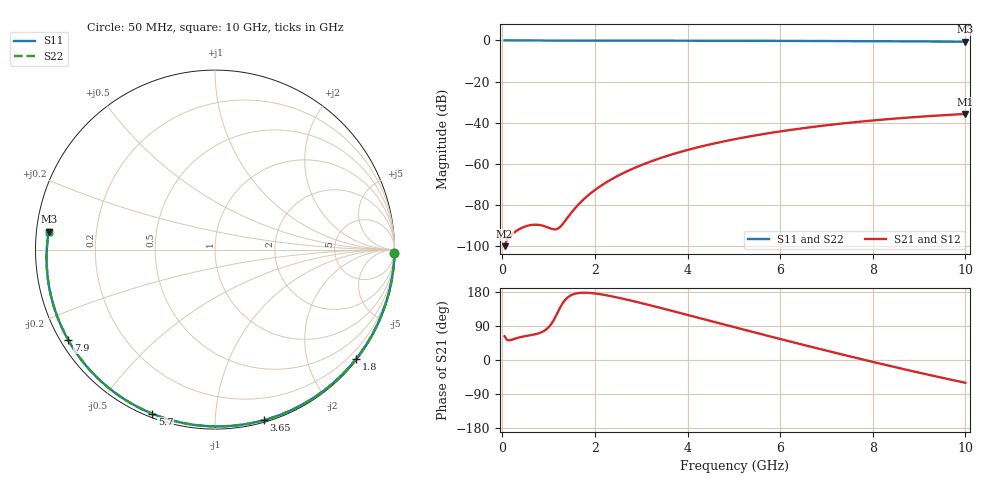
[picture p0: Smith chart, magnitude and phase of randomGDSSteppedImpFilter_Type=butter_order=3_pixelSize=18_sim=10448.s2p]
! freq	dB(S11)	phase(S11)	dB(S12)	phase(S12)
!  dB(S21)	phase(S21)	dB(S22)	phase(S22)
!S-par simulation data
#  GHz  S  DB  R 50
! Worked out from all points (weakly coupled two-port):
!   200 points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, 50 MHz to 10 GHz, reference 50 ohm
!   highest |S21| = -35.73 dB at 10 GHz (marker M1); lowest = -100.0 dB at 50 MHz (marker M2)
!   lowest |S11| = -0.6 dB at 10 GHz (marker M3), VSWR 28.47, Z = 1.76 + j2.68 ohm
!   |S11| at or under -10 dB: nowhere
!   |S22| runs from -0.6 to 0.0 dB; largest |S21 - S12| = 0
!   S11 on the Smith chart (normalised r, x): 50 MHz: open; 1.8 GHz: 0.03, -2.94; 3.65 GHz: 0.02, -1.33; 5.7 GHz: 0.02, -0.69; 7.9 GHz: 0.02, -0.28; 10 GHz: 0.04, +0.05
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0.05  -0.00 -1.1  -99.99 62.8  -99.99 62.8  -0.00 -1.1
0.4  -0.01 -8.5  -91.32 60.6  -91.32 60.6  -0.01 -8.5
0.8  -0.02 -17.0  -89.69 71.0  -89.69 71.0  -0.02 -17.0
1.6  -0.04 -33.5  -80.82 175.7  -80.82 175.7  -0.04 -33.5
1.65  -0.04 -34.6  -79.60 176.7  -79.60 176.7  -0.04 -34.6
1.75  -0.05 -36.6  -77.37 177.6  -77.37 177.6  -0.05 -36.6
1.8  -0.05 -37.6  -76.34 177.5  -76.34 177.5  -0.05 -37.6
2.1  -0.06 -43.7  -71.09 173.9  -71.09 173.9  -0.06 -43.7
2.45  -0.06 -50.7  -66.34 165.9  -66.34 165.9  -0.06 -50.7
2.9  -0.08 -59.6  -61.53 153.3  -61.53 153.3  -0.08 -59.6
3.4  -0.09 -69.2  -57.29 138.0  -57.29 138.0  -0.09 -69.2
3.65  -0.10 -73.9  -55.49 130.1  -55.49 130.1  -0.10 -73.9
4.35  -0.12 -86.9  -51.24 107.7  -51.24 107.7  -0.12 -86.9
5.05  -0.15 -99.5  -47.85 85.3  -47.85 85.3  -0.15 -99.5
5.7  -0.19 -110.9  -45.27 64.8  -45.27 64.8  -0.19 -110.9
6.2  -0.22 -119.5  -43.56 49.2  -43.56 49.2  -0.22 -119.5
6.7  -0.25 -128.0  -42.05 33.8  -42.05 33.8  -0.25 -128.0
7.3  -0.30 -138.2  -40.46 15.7  -40.46 15.7  -0.30 -138.2
7.9  -0.35 -148.5  -39.10 -2.1  -39.10 -2.1  -0.35 -148.5
8.35  -0.40 -156.2  -38.21 -15.1  -38.21 -15.1  -0.40 -156.2
9.2  -0.50 -171.3  -36.79 -38.9  -36.79 -38.9  -0.50 -171.3
10  -0.61 173.9  -35.73 -60.1  -35.73 -60.1  -0.61 173.9
